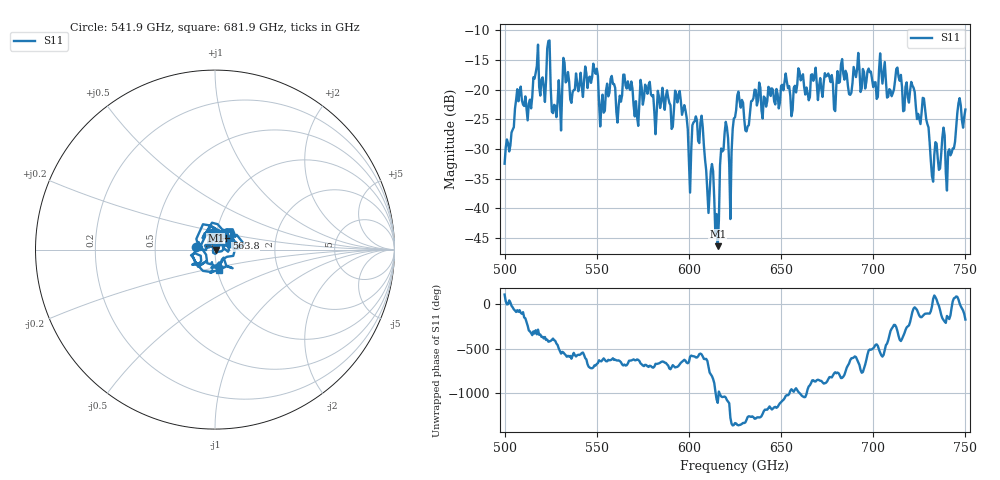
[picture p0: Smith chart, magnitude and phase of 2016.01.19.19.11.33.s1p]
!Created with skrf (http://scikit-rf.org).
# GHz S RI R 50.0
!freq ReS11 ImS11
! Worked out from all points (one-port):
!   401 points, 500 GHz to 750 GHz, reference 50 ohm
!   lowest |S11| = -46.3 dB at 615.6 GHz (marker M1), VSWR 1.01, Z = 50.4 - j0.218 ohm
!   |S11| at or under -10 dB: start of sweep to end of sweep
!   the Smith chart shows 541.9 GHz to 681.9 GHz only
!   S11 on the Smith chart (normalised r, x): 541.9 GHz: 0.81, +0.02; 563.8 GHz: 1.13, +0.14; 681.9 GHz: 1.01, -0.23
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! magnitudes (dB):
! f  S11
! 500 GHz  -32.5
! 507.5 GHz  -22.0
! 516.9 GHz  -17.2
! 520.6 GHz  -18.0
! 523.8 GHz  -11.8
! 526.9 GHz  -22.6
! 531.2 GHz  -20.1
! 541.9 GHz  -19.6
! 562.5 GHz  -21.0
! 563.8 GHz  -21.0
! 571.2 GHz  -22.0
! 593.8 GHz  -22.2
! 600 GHz  -32.3
! 607.5 GHz  -26.3
! 610 GHz  -37.2
! 615.6 GHz  -46.3
! 618.8 GHz  -30.2
! 622.5 GHz  -41.8
! 625 GHz  -24.7
! 656.2 GHz  -23.4
! 681.9 GHz  -18.7
! 687.5 GHz  -20.9
! 718.8 GHz  -21.3
! 728.1 GHz  -23.3
! 731.9 GHz  -34.6
! 740.6 GHz  -30.5
! 746.2 GHz  -22.3
! 750 GHz  -23.4
